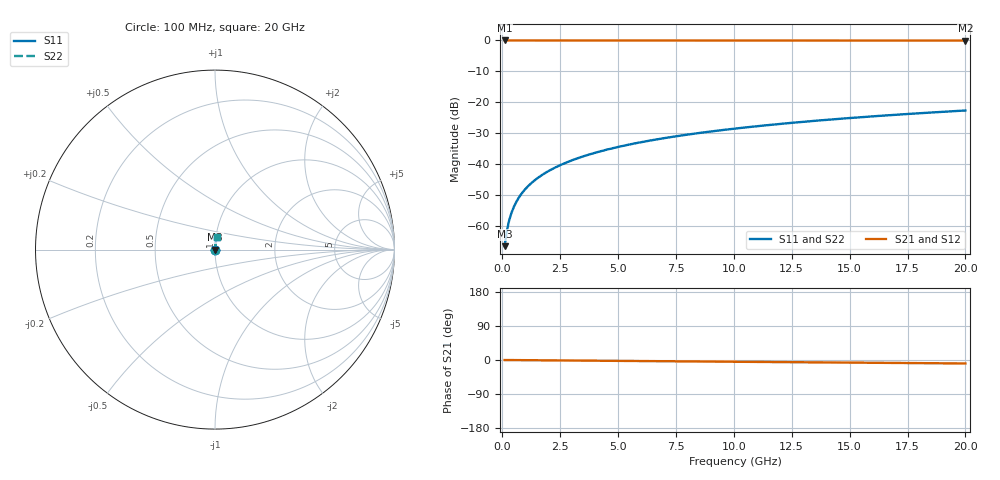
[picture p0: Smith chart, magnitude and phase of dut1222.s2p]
! Touchstone file exported from HFSS 2026.1.0
!  File:  C:/ffzhzh/LocalFiles/Ansys_Project_Files/temp_train_TSV_1222_1783193066_51560.aedt
!  Generated:  03:26:16 AM Jul  5, 2026
!  Design:  TSV
!  Project:  temp_train_TSV_1222_1783193066_51560
! Variables:
!  h_bsmrdl = 2um
!  h_ox = 20um
!  h_rdl = 5um
!  h_sub = 76.21um
!  h_tmrdl = 5um
!  h_tsv = 76.21um
!  h_via = 3um
!  l_bsmrdl = 300um
!  l_sub = 413um
!  l_tmrdl = 200um
!  m_sub = 200um
!  pitch = 53.17um
!  r_tsv = 6.5um
!  s_tmrdl = 10um
!  w_bsmrdl = 18um
!  w_sub = 500um
!  w_tmrdl = 12um
!  x_tsv_center1 = 206um
!  x_tsv_center2 = 524um
!  x_tsv_center3 = 736um
!  x_tsv_center4 = 1054um
!  x_tsv_center5 = 1266um
!  x_tsv_center6 = 1584um
# GHz S MA R 50.000000
! Terminal data exported
! Port[1] = TSV1_1_T1
! Port[2] = TSV1_1_T2
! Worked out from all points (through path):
!   200 points, 100 MHz to 20 GHz, reference 50 ohm
!   highest |S21| = 0.00 dB at 100 MHz (marker M1); lowest = 0.0 dB at 20 GHz (marker M2)
!   group delay of S21, straight-line fit = 1.27 ps
!   lowest |S11| = -66.4 dB at 100 MHz (marker M3), VSWR 1.00, Z = 50 + j0.0413 ohm
!   |S11| at or under -10 dB: start of sweep to end of sweep
!   |S22| runs from -66.4 to -22.6 dB; largest |S21 - S12| = 3.5e-15
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0.1  0.0004776 59.8  0.9998 -0.0  0.9998 -0.0  0.0004776 59.8
! Gamma 0 0 0 0
! Port Impedance 50 0 50 0
0.2  0.0008609 73.1  0.9998 -0.1  0.9998 -0.1  0.0008609 73.1
0.3  0.00126 77.9  0.9997 -0.1  0.9997 -0.1  0.00126 77.9
0.4  0.001661 80.1  0.9997 -0.2  0.9997 -0.2  0.001661 80.1
0.5  0.002059 81.4  0.9997 -0.2  0.9997 -0.2  0.002059 81.4
0.6  0.002454 82.3  0.9997 -0.3  0.9997 -0.3  0.002454 82.3
0.7  0.002846 82.8  0.9997 -0.3  0.9997 -0.3  0.002846 82.8
0.8  0.003235 83.3  0.9996 -0.4  0.9996 -0.4  0.003235 83.3
1  0.004007 83.9  0.9996 -0.5  0.9996 -0.5  0.004007 83.9
1.4  0.005534 84.6  0.9995 -0.7  0.9995 -0.7  0.005534 84.6
1.7  0.006673 84.9  0.9995 -0.8  0.9995 -0.8  0.006673 84.9
2  0.00781 85.2  0.9994 -0.9  0.9994 -0.9  0.00781 85.2
2.7  0.01045 85.4  0.9993 -1.3  0.9993 -1.3  0.01045 85.4
3.5  0.01347 85.5  0.9992 -1.6  0.9992 -1.6  0.01347 85.5
4.2  0.01609 85.4  0.9991 -1.9  0.9991 -1.9  0.01609 85.4
5  0.01908 85.2  0.999 -2.3  0.999 -2.3  0.01908 85.2
6.8  0.02577 84.7  0.9987 -3.1  0.9987 -3.1  0.02577 84.7
8.3  0.03132 84.2  0.9984 -3.8  0.9984 -3.8  0.03132 84.2
10.1  0.03795 83.6  0.9981 -4.6  0.9981 -4.6  0.03795 83.6
13.4  0.05006 82.3  0.9974 -6.1  0.9974 -6.1  0.05006 82.3
16.7  0.06208 81.0  0.9966 -7.6  0.9966 -7.6  0.06208 81.0
20  0.074 79.6  0.9956 -9.1  0.9956 -9.1  0.074 79.6
